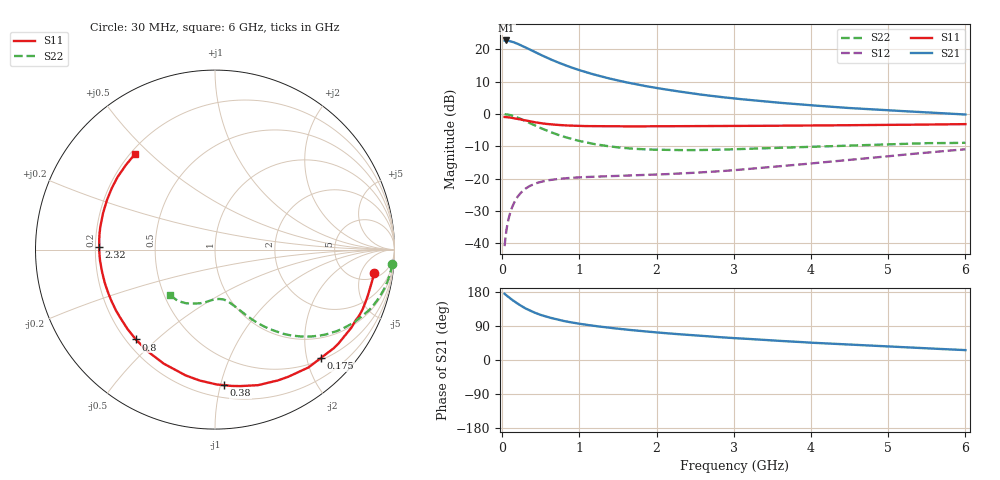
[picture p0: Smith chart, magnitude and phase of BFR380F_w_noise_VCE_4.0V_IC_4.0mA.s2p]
! Infineon Technologies  Discrete & RF Semiconductors
! BFR380F
! VCE =  4.0 V,  IC =  4.0 mA
! Common Emitter S-Parameters:  Nov 2015
# GHz  S  MA  R  50
!  f  S11  S21  S12  S22
! GHz  MAG  ANG  MAG  ANG  MAG  ANG  MAG  ANG
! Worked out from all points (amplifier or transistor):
!   206 points, 30 MHz to 6 GHz, reference 50 ohm
!   highest |S21| = 22.7 dB at 50 MHz (marker M1)
!   |S21| within 3 dB of that: start of sweep to 373.1 MHz
!   unconditionally stable (mu >= 1): 2.383 GHz to 5.031 GHz
!   at 200 MHz: K = 0.11, MSG = 23.6 dB, |S12| = -25.6 dB
!   at 1.56 GHz: K = 0.75, MSG = 14.6 dB, |S12| = -19.1 dB
!   at 6 GHz: K = 0.95, MSG = 5.4 dB, |S12| = -10.9 dB
!   lowest NFmin = 0.76 dB at 450 MHz
!   S11 on the Smith chart (normalised r, x): 30 MHz: 7, -9; 175 MHz: 0.54, -2.27; 380 MHz: 0.29, -1.03; 800 MHz: 0.24, -0.43; 2.32 GHz: 0.22, +0.01; 6 GHz: 0.22, +0.45
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0.03  0.8962 -8.2  13.62 174.8  0.009 85.8  0.9905 -4.6
0.05  0.8901 -14.0  13.68 170.9  0.0148 82.6  0.9858 -7.5
0.08  0.8872 -21.9  13.51 166.5  0.0234 78.7  0.9722 -12.0
0.12  0.8706 -32.2  13.11 159.9  0.0342 73.3  0.9456 -17.6
0.175  0.8444 -45.6  12.43 152.0  0.0471 66.5  0.8975 -24.5
0.2  0.8379 -51.6  12.12 148.3  0.0527 64.0  0.8754 -27.6
0.26  0.8088 -64.3  11.26 141.0  0.0635 57.9  0.8155 -33.9
0.3  0.7924 -72.4  10.7 136.2  0.0697 54.5  0.775 -37.7
0.38  0.7573 -86.1  9.592 128.5  0.0791 48.7  0.6992 -43.8
0.45  0.7347 -96.6  8.735 122.4  0.0856 44.8  0.6402 -48.4
0.5  0.7198 -103.1  8.172 118.8  0.089 42.5  0.6018 -51.1
0.6  0.6965 -114.3  7.195 112.5  0.0943 38.9  0.5373 -55.5
0.7  0.6795 -123.6  6.399 107.3  0.098 36.3  0.4848 -59.1
0.8  0.6673 -131.4  5.747 102.8  0.1007 34.6  0.4425 -61.9
1.04  0.6491 -145.5  4.587 94.5  0.1049 32.5  0.3724 -67.1
1.5  0.6416 -163.2  3.285 82.6  0.1099 33.2  0.3037 -74.8
2.02  0.6438 -175.7  2.492 72.5  0.1156 37.3  0.2791 -82.3
2.32  0.6456 178.8  2.194 67.6  0.1199 40.4  0.2756 -86.3
3.1  0.6517 167.4  1.688 56.7  0.1378 49.0  0.2863 -95.8
4.1  0.6629 154.2  1.332 44.7  0.1756 56.6  0.3128 -106.8
5.1  0.6775 142.0  1.119 34.7  0.2274 59.7  0.342 -119.9
6  0.6948 129.9  0.979 26.1  0.2835 58.4  0.3574 -134.5
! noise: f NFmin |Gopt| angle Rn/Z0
0.45  0.76  0.33  41  0.13
0.9  0.77  0.32  86  0.16
1.8  1.22  0.4  146  0.09
1.9  1.36  0.42  149  0.09
2.4  1.57  0.44  166  0.08
3.5  2.35  0.52  -165  0.1
